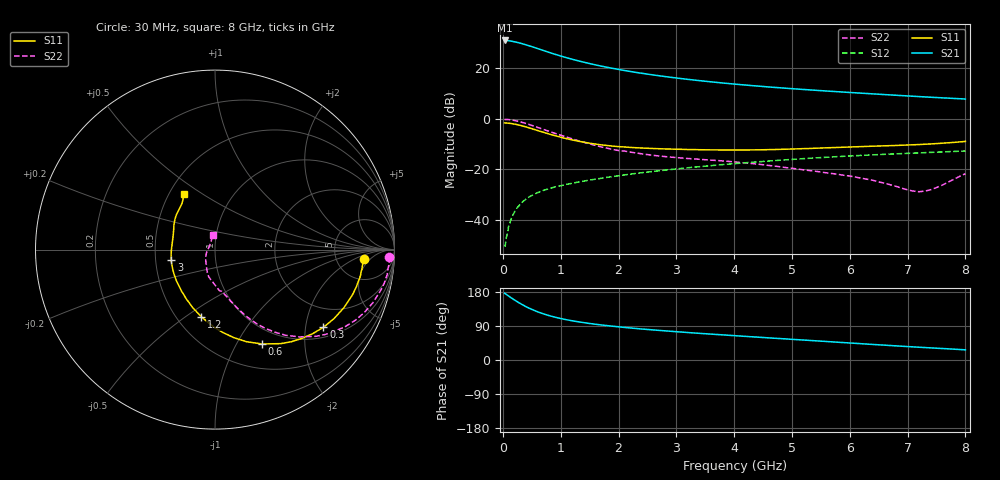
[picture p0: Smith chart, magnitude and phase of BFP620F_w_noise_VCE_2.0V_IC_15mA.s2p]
! Infineon Technologies  Discrete & RF Semiconductors
! BFP620F
! VCE =  2.0 V,  IC =  15 mA
! Common Emitter S-Parameters:  Dec 2014
# GHz  S  MA  R  50
!  f  S11  S21  S12  S22
! GHz  MAG  ANG  MAG  ANG  MAG  ANG  MAG  ANG
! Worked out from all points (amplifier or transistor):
!   95 points, 30 MHz to 8 GHz, reference 50 ohm
!   highest |S21| = 31.1 dB at 30 MHz (marker M1)
!   |S21| within 3 dB of that: start of sweep to 571.5 MHz
!   unconditionally stable (mu >= 1): 3.324 GHz to end of sweep
!   at 300 MHz: K = 0.25, MSG = 31.9 dB, |S12| = -33.9 dB
!   at 3.3 GHz: K = 1.00, MSG = 17.3 dB, |S12| = -19.2 dB
!   at 8 GHz: K = 1.07, MAG = 8.6 dB, |S12| = -12.7 dB
!   lowest NFmin = 0.71 dB at 450 MHz
!   S11 on the Smith chart (normalised r, x): 30 MHz: 10, -3; 300 MHz: 1.30, -2.52; 600 MHz: 0.80, -1.28; 1.2 GHz: 0.66, -0.58; 3 GHz: 0.61, -0.07; 8 GHz: 0.59, +0.42
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0.03  0.8304 -3.6  35.75 176.2  0.0031 71.9  0.9725 -2.4
0.08  0.8239 -9.9  35.53 170.8  0.0056 85.8  0.9698 -7.4
0.15  0.8053 -18.5  34.55 163.5  0.011 79.2  0.9493 -14.1
0.25  0.7665 -30.1  32.7 153.6  0.0175 74.3  0.9026 -22.9
0.3  0.7433 -35.6  31.63 149.1  0.0202 71.8  0.8733 -27.0
0.4  0.6908 -45.9  29.32 140.8  0.0256 68.9  0.8067 -34.3
0.45  0.6658 -50.5  28.11 137.1  0.0282 66.9  0.7763 -37.5
0.6  0.587 -63.6  24.68 127.2  0.0345 63.5  0.6774 -45.9
0.7  0.5418 -71.2  22.62 121.8  0.0381 61.6  0.6187 -50.5
0.8  0.5007 -78.1  20.71 117.1  0.0415 60.5  0.5648 -54.3
0.9  0.4642 -84.5  19.06 113.0  0.0446 59.4  0.5167 -57.7
1.1  0.4047 -96.0  16.29 106.3  0.0503 58.0  0.435 -63.2
1.2  0.3824 -101.5  15.16 103.5  0.053 57.9  0.4015 -65.5
1.4  0.3451 -111.4  13.26 98.6  0.0584 57.2  0.3438 -69.5
1.9  0.2881 -133.0  10.01 89.1  0.0718 56.4  0.2477 -78.8
2.7  0.2562 -159.1  7.146 78.2  0.0935 54.3  0.184 -93.2
3  0.2499 -166.9  6.455 74.7  0.1018 53.1  0.1709 -97.5
4.1  0.2411 170.4  4.777 63.3  0.1321 48.6  0.137 -107.8
5.4  0.2616 151.3  3.686 50.7  0.1681 41.5  0.0918 -122.9
6.7  0.2944 134.9  2.98 38.2  0.2002 33.3  0.0494 -160.7
7.3  0.314 126.4  2.72 32.8  0.2139 29.7  0.037 145.7
8  0.3567 119.3  2.473 26.8  0.2306 25.1  0.0817 99.3
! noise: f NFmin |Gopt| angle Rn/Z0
0.45  0.71  0.15  6  0.2
0.9  0.77  0.14  18  0.18
1.5  0.82  0.13  20  0.13
1.8  0.85  0.13  21  0.11
1.9  0.86  0.09  36  0.14
2.4  0.9  0.08  52  0.12
3.5  0.98  0.06  85  0.13
5.5  1.13  0.11  208  0.08
6  1.17  0.11  235  0.13
